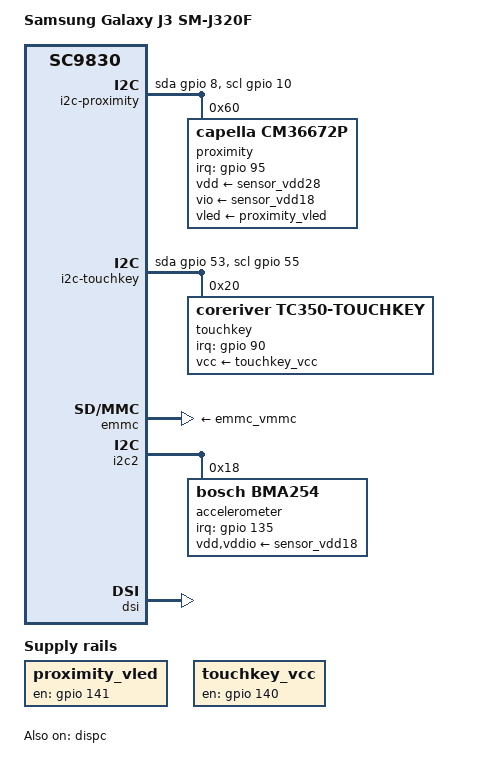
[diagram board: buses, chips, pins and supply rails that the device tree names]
// SPDX-License-Identifier: GPL-2.0-only

#include "sc9830-samsung-j3xnlte.dts"

/ {
	model = "Samsung Galaxy J3 SM-J320F";
	compatible = "samsung,j320f", "sprd,sc9830";

	chosen {
		bootargs = "console=ttyGS0 loglevel=7 maxcpus=1 clk_ignore_unused";
	};

	proximity_vled: regulator-proximity-led {
		compatible = "regulator-fixed";
		regulator-name = "proximity-led";
		gpio = <&gpio 141 GPIO_ACTIVE_HIGH>;
		enable-active-high;
		startup-delay-us = <20000>;
	};

	i2c-proximity {
		compatible = "i2c-gpio";
		#address-cells = <1>;
		#size-cells = <0>;
		sda-gpios = <&gpio 8 (GPIO_ACTIVE_HIGH | GPIO_OPEN_DRAIN)>;
		scl-gpios = <&gpio 10 (GPIO_ACTIVE_HIGH | GPIO_OPEN_DRAIN)>;
		i2c-gpio,delay-us = <10>;

		proximity@60 {
			compatible = "capella,cm36672p";
			reg = <0x60>;
			proximity-near-level = <3>;
			interrupts-extended = <&gpio 95 IRQ_TYPE_EDGE_FALLING>;
			vdd-supply = <&sensor_vdd28>;
			vio-supply = <&sensor_vdd18>;
			vled-supply = <&proximity_vled>;
		};
	};

	touchkey_vcc: regulator-touchkey {
		compatible = "regulator-fixed";
		regulator-name = "touchkey-vcc";
		gpio = <&gpio 140 GPIO_ACTIVE_HIGH>;
		enable-active-high;
	};

	i2c-touchkey {
		compatible = "i2c-gpio";
		#address-cells = <1>;
		#size-cells = <0>;
		sda-gpios = <&gpio 53 (GPIO_ACTIVE_HIGH | GPIO_OPEN_DRAIN)>;
		scl-gpios = <&gpio 55 (GPIO_ACTIVE_HIGH | GPIO_OPEN_DRAIN)>;
		i2c-gpio,delay-us = <10>;

		touchkey@20 {
			compatible = "coreriver,tc350-touchkey";
			reg = <0x20>;
			interrupts-extended = <&gpio 90 IRQ_TYPE_EDGE_FALLING>;
			vcc-supply = <&touchkey_vcc>;
			linux,keycodes = <KEY_APPSELECT KEY_BACK>;
		};
	};

	pmu {
		compatible = "arm,cortex-a7-pmu";
		interrupts = <GIC_SPI 92 IRQ_TYPE_LEVEL_HIGH>,
			     <GIC_SPI 93 IRQ_TYPE_LEVEL_HIGH>,
			     <GIC_SPI 94 IRQ_TYPE_LEVEL_HIGH>,
			     <GIC_SPI 95 IRQ_TYPE_LEVEL_HIGH>;
		interrupt-affinity = <&cpu0>, <&cpu1>, <&cpu2>, <&cpu3>;
	};

	reserved-memory {
		modem@89600000 {
			reg = <0x89600000 0x4280000>;
		};
	};
};

&pm {
	status = "disabled";
};

&mailbox {
	status = "disabled";
};

&{/retention} {
	status = "disabled";
};

&{/reboot-mode@f90} {
	status = "disabled";
};

&pmic {
	regulators {
		sensor_vdd18: vdd18 {
			regulator-name = "vdd18";
			regulator-min-microvolt = <1800000>;
			regulator-max-microvolt = <1800000>;
			regulator-always-on;
			regulator-boot-on;
		};

		sensor_vdd28: vdd28 {
			regulator-name = "vdd28";
			regulator-min-microvolt = <2800000>;
			regulator-max-microvolt = <2800000>;
			regulator-always-on;
			regulator-boot-on;
		};

		emmc_vqmmc: vddgen0 {
			regulator-name = "vdd-emmc-1p8";
			regulator-min-microvolt = <1800000>;
			regulator-max-microvolt = <1800000>;
			regulator-always-on;
			regulator-boot-on;
		};

		emmc_vmmc: vddemmccore {
			regulator-name = "vdd-emmc-3p0";
			regulator-min-microvolt = <3000000>;
			regulator-max-microvolt = <3000000>;
			regulator-always-on;
			regulator-boot-on;
		};
	};
};

&emmc {
	vmmc-supply = <&emmc_vmmc>;
	vqmmc-supply = <&emmc_vqmmc>;
	mmc-ddr-1_8v;
};

&i2c2 {
	accelerometer@18 {
		compatible = "bosch,bma254";
		reg = <0x18>;
		interrupts-extended = <&gpio 135 IRQ_TYPE_EDGE_RISING>;
		interrupt-names = "INT1";
		vdd-supply = <&sensor_vdd18>;
		vddio-supply = <&sensor_vdd18>;
		mount-matrix = "0", "-1", "0",
			       "1", "0", "0",
			       "0", "0", "1";
	};
};

&usb {
	maximum-speed = "high-speed";
	g-tx-fifo-size = <64 64 256 256 64 64 64 64
			  64 64 64 64 64 64 64>;
};

&{/soc/mmc@20400000/wifi@1} {
	interrupt-parent = <&gpio>;
	interrupts = <132 IRQ_TYPE_EDGE_RISING>;
};

&sdio1 {
	assigned-clock-rates = <76800000>;
	max-frequency = <38400000>;
	keep-power-in-suspend;
};

&panel_vci {
	status = "okay";
};

&dispc {
	status = "okay";
};

&dsi {
	status = "okay";
};
